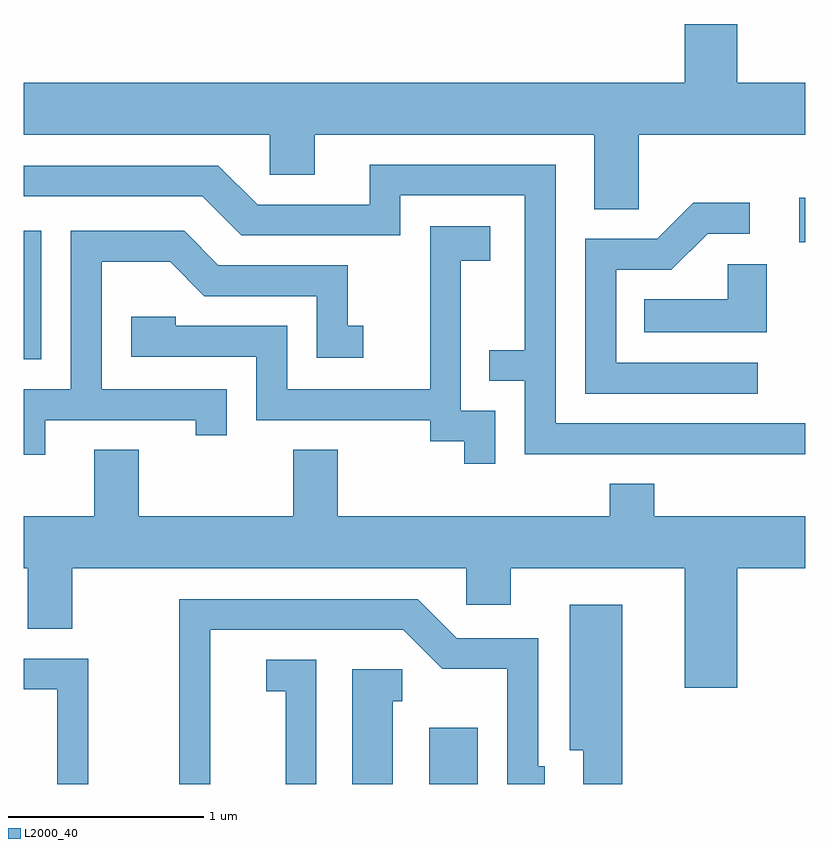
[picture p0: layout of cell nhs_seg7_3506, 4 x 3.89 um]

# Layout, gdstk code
import gdstk
lib = gdstk.Library(unit=1e-6, precision=1e-09)
def R(c, l, rs):  # rectangles x0, y0, x1, y1
    for r in rs: c.add(gdstk.rectangle(r[:2], r[2:], *l))
def P(c, l, *ps):  # polygons
    for p in ps: c.add(gdstk.Polygon(p, *l))
L2000_40 = (2000, 40)

nhs_seg7_3506 = lib.new_cell('nhs_seg7_3506')
R(nhs_seg7_3506, L2000_40, [(293.686,1784.252,293.934,1784.539), (291.611,1786.426,291.699,1787.084), (295.581,1787.026,295.611,1787.254)])
P(nhs_seg7_3506, L2000_40, [(294.759,1787.576),(295.611,1787.576),(295.611,1787.844),(295.264,1787.844),(295.264,1788.144),(294.996,1788.144),(294.996,1787.844),(291.611,1787.844),(291.611,1787.576),(292.871,1787.576),(292.871,1787.371),(293.099,1787.371),(293.099,1787.576),(294.531,1787.576),(294.531,1787.196),(294.759,1787.196)],
  [(295.611,1786.099),(294.334,1786.099),(294.334,1787.424),(293.381,1787.424),(293.381,1787.219),(292.807,1787.219),(292.607,1787.419),(291.611,1787.419),(291.611,1787.261),(292.524,1787.261),(292.724,1787.061),(293.539,1787.061),(293.539,1787.266),(294.176,1787.266),(294.176,1786.474),(293.993,1786.474),(293.993,1786.316),(294.176,1786.316),(294.176,1785.941),(295.611,1785.941)],
  [(295.368,1786.409),(294.644,1786.409),(294.644,1786.886),(294.927,1786.886),(295.112,1787.071),(295.328,1787.071),(295.328,1787.229),(295.039,1787.229),(294.854,1787.044),(294.486,1787.044),(294.486,1786.251),(295.368,1786.251)],
  [(294.024,1786.164),(293.849,1786.164),(293.849,1786.931),(293.999,1786.931),(293.999,1787.109),(293.691,1787.109),(293.691,1786.274),(292.959,1786.274),(292.959,1786.599),(292.389,1786.599),(292.389,1786.644),(292.161,1786.644),(292.161,1786.441),(292.801,1786.441),(292.801,1786.116),(293.691,1786.116),(293.691,1786.006),(293.866,1786.006),(293.866,1785.893),(294.024,1785.893)],
  [(291.719,1786.116),(292.491,1786.116),(292.491,1786.038),(292.649,1786.038),(292.649,1786.274),(292.009,1786.274),(292.009,1786.926),(292.359,1786.926),(292.534,1786.751),(293.111,1786.751),(293.111,1786.436),(293.348,1786.436),(293.348,1786.599),(293.269,1786.599),(293.269,1786.909),(292.607,1786.909),(292.432,1787.084),(291.851,1787.084),(291.851,1786.274),(291.611,1786.274),(291.611,1785.938),(291.719,1785.938)],
  [(295.414,1786.914),(295.216,1786.914),(295.216,1786.734),(294.788,1786.734),(294.788,1786.566),(295.414,1786.566)],
  [(295.264,1785.356),(295.611,1785.356),(295.611,1785.624),(294.839,1785.624),(294.839,1785.789),(294.611,1785.789),(294.611,1785.624),(293.219,1785.624),(293.219,1785.964),(292.991,1785.964),(292.991,1785.624),(292.199,1785.624),(292.199,1785.964),(291.971,1785.964),(291.971,1785.624),(291.611,1785.624),(291.611,1785.356),(291.631,1785.356),(291.631,1785.046),(291.859,1785.046),(291.859,1785.356),(293.876,1785.356),(293.876,1785.171),(294.104,1785.171),(294.104,1785.356),(294.996,1785.356),(294.996,1784.746),(295.264,1784.746)],
  [(292.564,1785.041),(293.554,1785.041),(293.754,1784.841),(294.086,1784.841),(294.086,1784.252),(294.279,1784.252),(294.279,1784.344),(294.244,1784.344),(294.244,1784.999),(293.827,1784.999),(293.627,1785.199),(292.406,1785.199),(292.406,1784.252),(292.564,1784.252)],
  [(294.674,1785.169),(294.406,1785.169),(294.406,1784.426),(294.476,1784.426),(294.476,1784.252),(294.674,1784.252)],
  [(291.939,1784.894),(291.611,1784.894),(291.611,1784.736),(291.781,1784.736),(291.781,1784.252),(291.939,1784.252)],
  [(293.109,1784.889),(292.853,1784.889),(292.853,1784.726),(292.951,1784.726),(292.951,1784.252),(293.109,1784.252)],
  [(293.499,1784.676),(293.548,1784.676),(293.548,1784.839),(293.291,1784.839),(293.291,1784.252),(293.499,1784.252)])

lib.write_gds('nhs_seg7_3506.gds')
